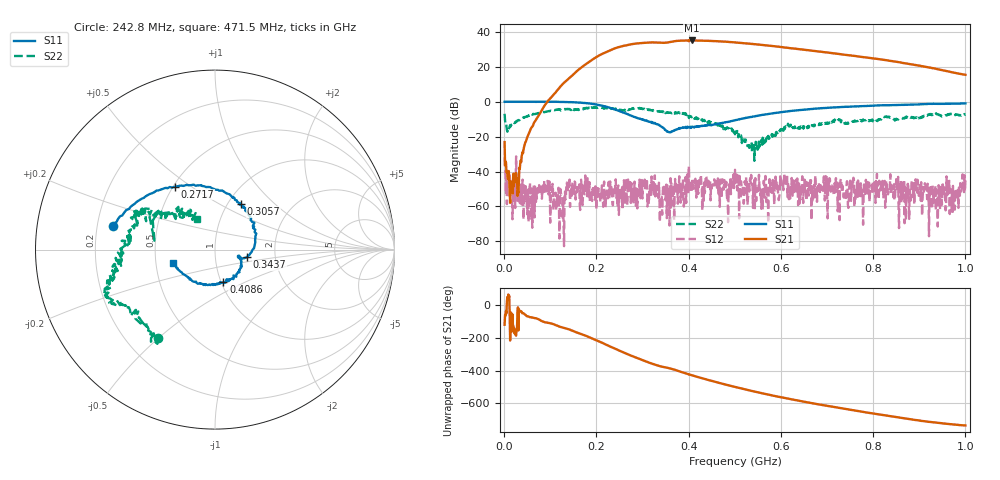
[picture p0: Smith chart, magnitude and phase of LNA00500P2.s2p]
! Created with skrf 1.9.0 (http://scikit-rf.org).
# Hz S RI R 50.0
!freq ReS11 ImS11 ReS21 ImS21 ReS12 ImS12 ReS22 ImS22
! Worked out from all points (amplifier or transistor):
!   1001 points, 1 MHz to 1 GHz, reference 50 ohm
!   highest |S21| = 35.1 dB at 406.6 MHz (marker M1)
!   |S21| within 3 dB of that: 260.4 MHz to 576.3 MHz (315.9 MHz wide, 75.5 % of centre)
!   unconditionally stable (mu >= 1): 270.7 MHz to 304.7 MHz; 326.7 MHz to 400.6 MHz; 400.6 MHz to end of sweep (the widest 3 of 51)
!   at 166.8 MHz: K = 0.67, MSG = 32.1 dB, |S12| = -44.6 dB
!   at 500.5 MHz: K = 1.09, MAG = 34.7 dB, |S12| = -39.0 dB
!   at 1 GHz: K = 2.36, MAG = 23.7 dB, |S12| = -45.0 dB
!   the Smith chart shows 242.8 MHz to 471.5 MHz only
!   S11 on the Smith chart (normalised r, x): 242.8 MHz: 0.27, +0.11; 271.7 MHz: 0.51, +0.43; 305.7 MHz: 1.15, +0.64; 343.7 MHz: 1.42, -0.12; 408.6 MHz: 1.02, -0.39; 471.5 MHz: 0.62, -0.10
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1000000  0.9944 0.00732  -0.0334 -0.0616  -0.0249 -0.00161  0.3012 0.3362
1.08892e8  0.5313 -0.8437  -0.7798 -1.509  0.00196 -0.00114  0.426 -0.381
1.67833e8  -0.2175 -0.9095  -9.721 -0.6792  -0.00137 0.00385  0.0474 -0.6216
2.09791e8  -0.67 -0.4106  -15.72 16.11  -0.0021 0.000877  -0.2056 -0.6486
2.42758e8  -0.5667 0.1341  -1.029 34.6  0.00341 0.000135  -0.3171 -0.4952
2.71729e8  -0.2217 0.3505  23.97 35.97  -0.000299 -0.00261  -0.4957 -0.313
3.05695e8  0.1445 0.2542  46.19 15.41  0.00124 0.00307  -0.584 -0.1638
3.34666e8  0.2176 0.0122  48.64 -8.345  0.000115 0.00174  -0.526 -0.0411
3.43657e8  0.1773 -0.0418  46.73 -13.66  0.000989 0.00174  -0.5277 0.0039
3.72628e8  0.1446 -0.063  44.08 -32.88  0.00246 0.0016  -0.4501 0.1927
4.06594e8  0.0576 -0.1785  21.67 -52.59  0.0018 0.00201  -0.3047 0.1919
4.08592e8  0.0468 -0.1823  20.05 -53.17  0.00332 0.00153  -0.3027 0.1937
4.39561e8  -0.1057 -0.1783  -4.216 -55.44  0.00426 0.0017  -0.189 0.2027
4.71529e8  -0.2338 -0.073  -25.22 -46.75  0.00179 0.00134  -0.0985 0.171
5.005e8  -0.2816 0.0856  -38.16 -32.57  0.0103 -0.00456  -0.0839 0.0821
5.4046e8  -0.2384 0.2923  -43.51 -10.65  0.0023 -0.00217  -0.038 0.0108
5.88412e8  -0.0588 0.4756  -37.07 10.63  0.00684 -0.00208  -0.0697 -0.0785
6.67333e8  0.321 0.5336  -14.84 24.71  -0.00329 -0.00181  -0.2071 -0.0513
7.55245e8  0.6327 0.3605  4.055 20.35  -0.00513 -0.00124  -0.2698 -0.00426
8.34166e8  0.7853 0.1314  10.99 10.26  -0.00265 0.000814  -0.3731 -0.00286
9.13087e8  0.8448 -0.1396  9.885 1.665  -0.00397 -0.00118  -0.3651 0.1437
1e9  0.8003 -0.4011  5.694 -1.564  -0.00511 -0.00227  -0.3279 0.2846
